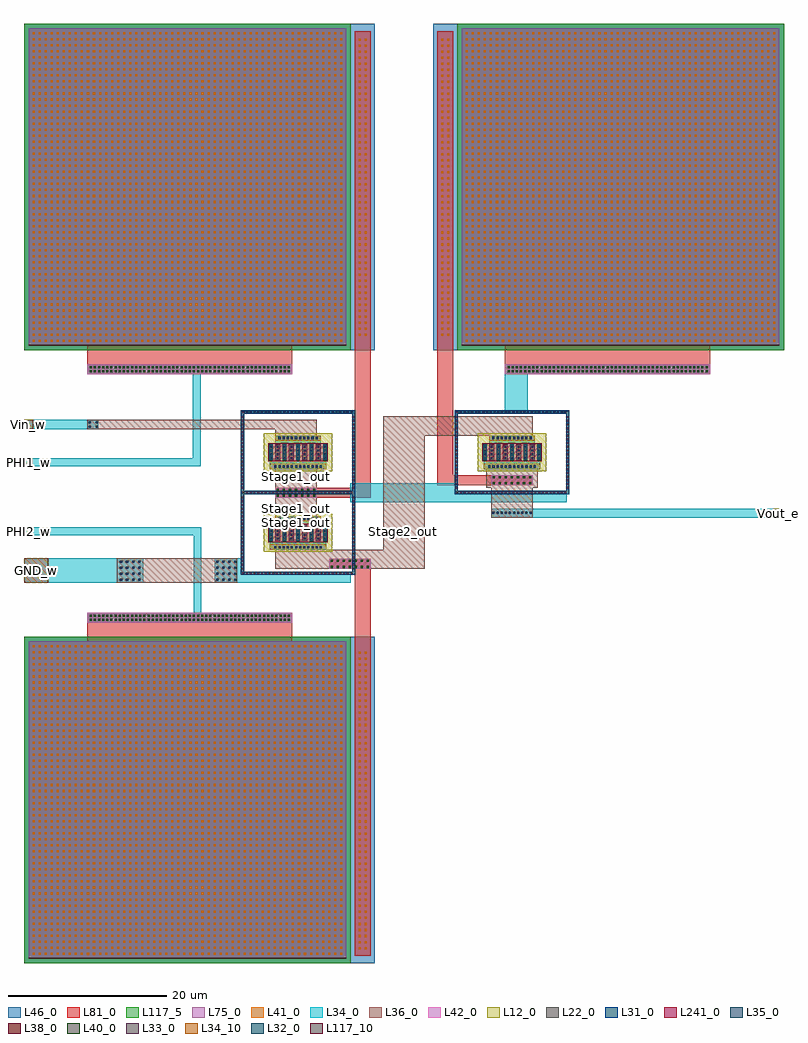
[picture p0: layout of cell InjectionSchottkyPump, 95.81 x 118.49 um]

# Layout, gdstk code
import gdstk
lib = gdstk.Library(unit=1e-6, precision=1e-09)
def R(c, l, rs):  # rectangles x0, y0, x1, y1
    for r in rs: c.add(gdstk.rectangle(r[:2], r[2:], *l))
def A(c, l, x, y, w, h, nx, ny, dx, dy):  # array of equal rectangles
    R(c, l, [(x+i*dx, y+j*dy, x+i*dx+w, y+j*dy+h) for i in range(nx) for j in range(ny)])
def P(c, l, *ps):  # polygons
    for p in ps: c.add(gdstk.Polygon(p, *l))
L12_0 = (12, 0)
L22_0 = (22, 0)
L31_0 = (31, 0)
L32_0 = (32, 0)
L33_0 = (33, 0)
L34_0 = (34, 0)
L34_10 = (34, 10)
L35_0 = (35, 0)
L36_0 = (36, 0)
L38_0 = (38, 0)
L40_0 = (40, 0)
L41_0 = (41, 0)
L42_0 = (42, 0)
L46_0 = (46, 0)
L75_0 = (75, 0)
L81_0 = (81, 0)
L117_5 = (117, 5)
L117_10 = (117, 10)
L241_0 = (241, 0)

schottkydiode = lib.new_cell('SchottkyDiode')
R(schottkydiode, L12_0, [(2.89,5.06,11.57,9.86)])
A(schottkydiode, L22_0, 3.65, 6.46, 0.36, 2, 5, 1, 1.7, 0)
A(schottkydiode, L22_0, 4.37, 6.46, 0.62, 2, 4, 1, 1.7, 0)
P(schottkydiode, L22_0, [(0.03,2.2),(0.03,12.36),(0.39,12.36),(0.39,2.56),(14.07,2.56),(14.07,12.36),(0.03,12.36),(0.03,12.72),(14.43,12.72),(14.43,2.2)])
P(schottkydiode, L31_0, [(0,2.17),(0,12.33),(0.42,12.33),(0.42,2.59),(14.04,2.59),(14.04,12.33),(0,12.33),(0,12.75),(14.46,12.75),(14.46,2.17)])
A(schottkydiode, L32_0, 3.62, 6.43, 0.42, 2.06, 5, 1, 1.7, 0)
A(schottkydiode, L33_0, 0.22, 2.27, 0.22, 0.22, 30, 2, 0.47, 10.16)
A(schottkydiode, L33_0, 0.1, 2.87, 0.22, 0.22, 1, 20, 0, 0.47)
A(schottkydiode, L33_0, 14.14, 2.87, 0.22, 0.22, 1, 20, 0, 0.47)
A(schottkydiode, L33_0, 3.72, 6.645, 0.22, 0.22, 9, 4, 0.85, 0.47)
A(schottkydiode, L34_0, 3.65, 6.23, 0.36, 2.23, 5, 1, 1.7, 0)
A(schottkydiode, L34_0, 4.37, 6.46, 0.62, 2.23, 4, 1, 1.7, 0)
R(schottkydiode, L34_0, [(3.65,5.35,10.81,6), (3.65,6,10.81,6.23), (4.37,8.69,10.09,8.92), (4.37,8.92,10.09,9.57)])
P(schottkydiode, L34_0, [(0.03,2.2),(0.03,12.72),(0.39,12.72),(0.39,2.56),(14.07,2.56),(14.07,12.36),(0.39,12.36),(0.39,12.72),(14.43,12.72),(14.43,2.2)])
A(schottkydiode, L35_0, 4.25, 5.54, 0.26, 0.26, 12, 1, 0.52, 0)
A(schottkydiode, L35_0, 4.76, 9.13, 0.26, 0.26, 10, 1, 0.52, 0)
R(schottkydiode, L36_0, [(3.65,5.35,10.81,6), (4.37,8.92,10.09,9.57)])
R(schottkydiode, L241_0, [(3.49,6.3,10.97,8.62)])

schottkydiode_1 = lib.new_cell('SchottkyDiode$1')
R(schottkydiode_1, L12_0, [(2.89,5.06,11.57,9.86)])
A(schottkydiode_1, L22_0, 3.65, 6.46, 0.36, 2, 5, 1, 1.7, 0)
A(schottkydiode_1, L22_0, 4.37, 6.46, 0.62, 2, 4, 1, 1.7, 0)
P(schottkydiode_1, L22_0, [(0.03,2.2),(0.03,12.36),(0.39,12.36),(0.39,2.56),(14.07,2.56),(14.07,12.36),(0.03,12.36),(0.03,12.72),(14.43,12.72),(14.43,2.2)])
P(schottkydiode_1, L31_0, [(0,2.17),(0,12.33),(0.42,12.33),(0.42,2.59),(14.04,2.59),(14.04,12.33),(0,12.33),(0,12.75),(14.46,12.75),(14.46,2.17)])
A(schottkydiode_1, L32_0, 3.62, 6.43, 0.42, 2.06, 5, 1, 1.7, 0)
A(schottkydiode_1, L33_0, 0.22, 2.27, 0.22, 0.22, 30, 2, 0.47, 10.16)
A(schottkydiode_1, L33_0, 0.1, 2.87, 0.22, 0.22, 1, 20, 0, 0.47)
A(schottkydiode_1, L33_0, 14.14, 2.87, 0.22, 0.22, 1, 20, 0, 0.47)
A(schottkydiode_1, L33_0, 3.72, 6.645, 0.22, 0.22, 9, 4, 0.85, 0.47)
A(schottkydiode_1, L34_0, 3.65, 6.23, 0.36, 2.23, 5, 1, 1.7, 0)
A(schottkydiode_1, L34_0, 4.37, 6.46, 0.62, 2.23, 4, 1, 1.7, 0)
R(schottkydiode_1, L34_0, [(3.65,5.35,10.81,6), (3.65,6,10.81,6.23), (4.37,8.69,10.09,8.92), (4.37,8.92,10.09,9.57)])
P(schottkydiode_1, L34_0, [(0.03,2.2),(0.03,12.72),(0.39,12.72),(0.39,2.56),(14.07,2.56),(14.07,12.36),(0.39,12.36),(0.39,12.72),(14.43,12.72),(14.43,2.2)])
A(schottkydiode_1, L35_0, 4.25, 5.54, 0.26, 0.26, 12, 1, 0.52, 0)
A(schottkydiode_1, L35_0, 4.76, 9.13, 0.26, 0.26, 10, 1, 0.52, 0)
R(schottkydiode_1, L36_0, [(3.65,5.35,10.81,6), (4.37,8.92,10.09,9.57)])
R(schottkydiode_1, L241_0, [(3.49,6.3,10.97,8.62)])

schottkydiode_1_1 = lib.new_cell('SchottkyDiode$1$1')
R(schottkydiode_1_1, L12_0, [(2.89,5.06,11.57,9.86)])
A(schottkydiode_1_1, L22_0, 3.65, 6.46, 0.36, 2, 5, 1, 1.7, 0)
A(schottkydiode_1_1, L22_0, 4.37, 6.46, 0.62, 2, 4, 1, 1.7, 0)
P(schottkydiode_1_1, L22_0, [(0.03,2.2),(0.03,12.36),(0.39,12.36),(0.39,2.56),(14.07,2.56),(14.07,12.36),(0.03,12.36),(0.03,12.72),(14.43,12.72),(14.43,2.2)])
P(schottkydiode_1_1, L31_0, [(0,2.17),(0,12.33),(0.42,12.33),(0.42,2.59),(14.04,2.59),(14.04,12.33),(0,12.33),(0,12.75),(14.46,12.75),(14.46,2.17)])
A(schottkydiode_1_1, L32_0, 3.62, 6.43, 0.42, 2.06, 5, 1, 1.7, 0)
A(schottkydiode_1_1, L33_0, 0.22, 2.27, 0.22, 0.22, 30, 2, 0.47, 10.16)
A(schottkydiode_1_1, L33_0, 0.1, 2.87, 0.22, 0.22, 1, 20, 0, 0.47)
A(schottkydiode_1_1, L33_0, 14.14, 2.87, 0.22, 0.22, 1, 20, 0, 0.47)
A(schottkydiode_1_1, L33_0, 3.72, 6.645, 0.22, 0.22, 9, 4, 0.85, 0.47)
A(schottkydiode_1_1, L34_0, 3.65, 6.23, 0.36, 2.23, 5, 1, 1.7, 0)
A(schottkydiode_1_1, L34_0, 4.37, 6.46, 0.62, 2.23, 4, 1, 1.7, 0)
R(schottkydiode_1_1, L34_0, [(3.65,5.35,10.81,6), (3.65,6,10.81,6.23), (4.37,8.69,10.09,8.92), (4.37,8.92,10.09,9.57)])
P(schottkydiode_1_1, L34_0, [(0.03,2.2),(0.03,12.72),(0.39,12.72),(0.39,2.56),(14.07,2.56),(14.07,12.36),(0.39,12.36),(0.39,12.72),(14.43,12.72),(14.43,2.2)])
A(schottkydiode_1_1, L35_0, 4.25, 5.54, 0.26, 0.26, 12, 1, 0.52, 0)
A(schottkydiode_1_1, L35_0, 4.76, 9.13, 0.26, 0.26, 10, 1, 0.52, 0)
R(schottkydiode_1_1, L36_0, [(3.65,5.35,10.81,6), (4.37,8.92,10.09,9.57)])
R(schottkydiode_1_1, L241_0, [(3.49,6.3,10.97,8.62)])

cap_mim = lib.new_cell('cap_mim')
A(cap_mim, L41_0, 0.49, 0.49, 0.26, 0.26, 52, 52, 0.76, 0.76)
R(cap_mim, L46_0, [(-0.6,-0.6,40.6,40.6)])
R(cap_mim, L75_0, [(0,0,40,40)])
R(cap_mim, L81_0, [(0,0,40,40)])
R(cap_mim, L117_5, [(-0.6,-0.6,40.6,40.6)])
R(cap_mim, L117_10, [(0,0,40,0.1)])

injectionschottkypump = lib.new_cell('InjectionSchottkyPump')
A(injectionschottkypump, L34_0, 7.945, 42.965, 2.47, 1.245, 16, 2, 1.56, 31.315)
A(injectionschottkypump, L34_0, 60.605, 74.28, 2.47, 1.245, 16, 1, 1.56, 0)
R(injectionschottkypump, L34_0, [(21.365,44.18,22.365,55), (0,48.02,15,51.07), (24.01,48.02,27.375,51.07), (27.34,48.02,41.195,49.02), (27.375,48.02,41.195,48.99), (19.435,54,22.365,55), (86.405,56.16,95.795,57.32), (41.095,58.15,54.695,60.545), (54.695,58.15,68.415,59.15), (54.695,59.06,68.415,59.18), (19.335,62.7,22.265,63.7), (21.26,63.01,22.265,75.29), (-0.005,67.37,9.385,68.53), (60.605,69.7,63.5,69.73), (60.605,69.73,63.495,74.28)])
R(injectionschottkypump, L34_10, [(0,48.02,3.04,51.07), (0,54,1.015,55), (94.505,56.16,95.795,57.32), (94.505,56.16,95.795,57.32), (0,62.7,1.015,63.7), (-0.005,67.37,1.175,68.53), (-0.005,67.37,1.175,68.53)])
A(injectionschottkypump, L35_0, 8.29, 43.185, 0.26, 0.26, 4, 2, 0.52, 0.52)
A(injectionschottkypump, L35_0, 9.85, 43.185, 0.26, 0.26, 4, 2, 0.52, 0.52)
A(injectionschottkypump, L35_0, 11.41, 43.185, 0.26, 0.26, 4, 2, 0.52, 0.52)
A(injectionschottkypump, L35_0, 12.97, 43.185, 0.26, 0.26, 4, 2, 0.52, 0.52)
A(injectionschottkypump, L35_0, 14.53, 43.185, 0.26, 0.26, 4, 2, 0.52, 0.52)
A(injectionschottkypump, L35_0, 16.09, 43.185, 0.26, 0.26, 4, 2, 0.52, 0.52)
A(injectionschottkypump, L35_0, 17.65, 43.185, 0.26, 0.26, 4, 2, 0.52, 0.52)
A(injectionschottkypump, L35_0, 19.21, 43.185, 0.26, 0.26, 4, 2, 0.52, 0.52)
A(injectionschottkypump, L35_0, 20.77, 43.185, 0.26, 0.26, 4, 2, 0.52, 0.52)
A(injectionschottkypump, L35_0, 22.33, 43.185, 0.26, 0.26, 4, 2, 0.52, 0.52)
A(injectionschottkypump, L35_0, 23.89, 43.185, 0.26, 0.26, 4, 2, 0.52, 0.52)
A(injectionschottkypump, L35_0, 25.45, 43.185, 0.26, 0.26, 4, 2, 0.52, 0.52)
A(injectionschottkypump, L35_0, 27.01, 43.185, 0.26, 0.26, 4, 2, 0.52, 0.52)
A(injectionschottkypump, L35_0, 28.57, 43.185, 0.26, 0.26, 4, 2, 0.52, 0.52)
A(injectionschottkypump, L35_0, 30.13, 43.185, 0.26, 0.26, 4, 2, 0.52, 0.52)
A(injectionschottkypump, L35_0, 31.69, 43.185, 0.26, 0.26, 4, 2, 0.52, 0.52)
A(injectionschottkypump, L35_0, 12.09, 48.22, 0.26, 0.26, 4, 4, 0.76, 0.76)
A(injectionschottkypump, L35_0, 24.2, 48.23, 0.26, 0.26, 4, 4, 0.76, 0.76)
A(injectionschottkypump, L35_0, 59.045, 56.705, 0.26, 0.26, 10, 1, 0.52, 0)
A(injectionschottkypump, L35_0, 8.29, 74.525, 0.26, 0.26, 4, 2, 0.52, 0.52)
A(injectionschottkypump, L35_0, 9.85, 74.525, 0.26, 0.26, 4, 2, 0.52, 0.52)
A(injectionschottkypump, L35_0, 11.41, 74.525, 0.26, 0.26, 4, 2, 0.52, 0.52)
A(injectionschottkypump, L35_0, 12.97, 74.525, 0.26, 0.26, 4, 2, 0.52, 0.52)
A(injectionschottkypump, L35_0, 14.53, 74.525, 0.26, 0.26, 4, 2, 0.52, 0.52)
A(injectionschottkypump, L35_0, 16.09, 74.525, 0.26, 0.26, 4, 2, 0.52, 0.52)
A(injectionschottkypump, L35_0, 17.65, 74.525, 0.26, 0.26, 4, 2, 0.52, 0.52)
A(injectionschottkypump, L35_0, 19.21, 74.525, 0.26, 0.26, 4, 2, 0.52, 0.52)
A(injectionschottkypump, L35_0, 20.77, 74.525, 0.26, 0.26, 4, 2, 0.52, 0.52)
A(injectionschottkypump, L35_0, 22.33, 74.525, 0.26, 0.26, 4, 2, 0.52, 0.52)
A(injectionschottkypump, L35_0, 23.89, 74.525, 0.26, 0.26, 4, 2, 0.52, 0.52)
A(injectionschottkypump, L35_0, 25.45, 74.525, 0.26, 0.26, 4, 2, 0.52, 0.52)
A(injectionschottkypump, L35_0, 27.01, 74.525, 0.26, 0.26, 4, 2, 0.52, 0.52)
A(injectionschottkypump, L35_0, 28.57, 74.525, 0.26, 0.26, 4, 2, 0.52, 0.52)
A(injectionschottkypump, L35_0, 30.13, 74.525, 0.26, 0.26, 4, 2, 0.52, 0.52)
A(injectionschottkypump, L35_0, 31.69, 74.525, 0.26, 0.26, 4, 2, 0.52, 0.52)
A(injectionschottkypump, L35_0, 60.95, 74.525, 0.26, 0.26, 4, 2, 0.52, 0.52)
A(injectionschottkypump, L35_0, 62.51, 74.525, 0.26, 0.26, 4, 2, 0.52, 0.52)
A(injectionschottkypump, L35_0, 64.07, 74.525, 0.26, 0.26, 4, 2, 0.52, 0.52)
A(injectionschottkypump, L35_0, 65.63, 74.525, 0.26, 0.26, 4, 2, 0.52, 0.52)
A(injectionschottkypump, L35_0, 67.19, 74.525, 0.26, 0.26, 4, 2, 0.52, 0.52)
A(injectionschottkypump, L35_0, 68.75, 74.525, 0.26, 0.26, 4, 2, 0.52, 0.52)
A(injectionschottkypump, L35_0, 70.31, 74.525, 0.26, 0.26, 4, 2, 0.52, 0.52)
A(injectionschottkypump, L35_0, 71.87, 74.525, 0.26, 0.26, 4, 2, 0.52, 0.52)
A(injectionschottkypump, L35_0, 73.43, 74.525, 0.26, 0.26, 4, 2, 0.52, 0.52)
A(injectionschottkypump, L35_0, 74.99, 74.525, 0.26, 0.26, 4, 2, 0.52, 0.52)
A(injectionschottkypump, L35_0, 76.55, 74.525, 0.26, 0.26, 4, 2, 0.52, 0.52)
A(injectionschottkypump, L35_0, 78.11, 74.525, 0.26, 0.26, 4, 2, 0.52, 0.52)
A(injectionschottkypump, L35_0, 79.67, 74.525, 0.26, 0.26, 4, 2, 0.52, 0.52)
A(injectionschottkypump, L35_0, 81.23, 74.525, 0.26, 0.26, 4, 2, 0.52, 0.52)
A(injectionschottkypump, L35_0, 82.79, 74.525, 0.26, 0.26, 4, 2, 0.52, 0.52)
A(injectionschottkypump, L35_0, 84.35, 74.525, 0.26, 0.26, 4, 2, 0.52, 0.52)
R(injectionschottkypump, L35_0, [(8.29,43.705,8.55,43.965), (9.85,43.705,10.11,43.965), (11.41,43.705,11.67,43.965), (12.97,43.705,13.23,43.965), (14.53,43.705,14.79,43.965), (16.09,43.705,16.35,43.965), (17.65,43.705,17.91,43.965), (19.21,43.705,19.47,43.965), (20.77,43.705,21.03,43.965), (22.33,43.705,22.59,43.965), (23.89,43.705,24.15,43.965), (25.45,43.705,25.71,43.965), (27.01,43.705,27.27,43.965), (28.57,43.705,28.83,43.965), (30.13,43.705,30.39,43.965), (31.69,43.705,31.95,43.965), (8.175,67.53,8.435,67.79), (9.015,67.53,9.275,67.79), (8.175,68.07,8.435,68.33), (9.015,68.07,9.275,68.33), (8.29,74.525,8.55,74.785), (9.85,74.525,10.11,74.785), (11.41,74.525,11.67,74.785), (12.97,74.525,13.23,74.785), (14.53,74.525,14.79,74.785), (16.09,74.525,16.35,74.785), (17.65,74.525,17.91,74.785), (19.21,74.525,19.47,74.785), (20.77,74.525,21.03,74.785), (22.33,74.525,22.59,74.785), (23.89,74.525,24.15,74.785), (25.45,74.525,25.71,74.785), (27.01,74.525,27.27,74.785), (28.57,74.525,28.83,74.785), (30.13,74.525,30.39,74.785), (31.69,74.525,31.95,74.785), (60.95,74.525,61.21,74.785), (62.51,74.525,62.77,74.785), (64.07,74.525,64.33,74.785), (65.63,74.525,65.89,74.785), (67.19,74.525,67.45,74.785), (68.75,74.525,69.01,74.785), (70.31,74.525,70.57,74.785), (71.87,74.525,72.13,74.785), (73.43,74.525,73.69,74.785), (74.99,74.525,75.25,74.785), (76.55,74.525,76.81,74.785), (78.11,74.525,78.37,74.785), (79.67,74.525,79.93,74.785), (81.23,74.525,81.49,74.785), (82.79,74.525,83.05,74.785), (84.35,74.525,84.61,74.785)])
A(injectionschottkypump, L36_0, 7.945, 42.965, 2.47, 1.245, 16, 2, 1.56, 31.315)
A(injectionschottkypump, L36_0, 60.605, 74.28, 2.47, 1.245, 16, 1, 1.56, 0)
R(injectionschottkypump, L36_0, [(11.68,48.02,26.9,51.07), (31.665,49.73,36.905,52.17), (36.905,49.73,45.275,52.17), (45.275,49.73,50.515,68.99), (58.885,56.16,64.125,60.28), (31.665,56.39,36.905,62.33), (58.245,59.995,64.765,62.33), (31.665,66.55,36.905,68.53), (50.515,66.55,58.885,68.99), (58.885,66.55,64.125,68.99), (7.995,67.37,31.665,68.53)])
A(injectionschottkypump, L38_0, 8.29, 43.185, 0.26, 0.26, 4, 2, 0.52, 0.52)
A(injectionschottkypump, L38_0, 9.85, 43.185, 0.26, 0.26, 4, 2, 0.52, 0.52)
A(injectionschottkypump, L38_0, 11.41, 43.185, 0.26, 0.26, 4, 2, 0.52, 0.52)
A(injectionschottkypump, L38_0, 12.97, 43.185, 0.26, 0.26, 4, 2, 0.52, 0.52)
A(injectionschottkypump, L38_0, 14.53, 43.185, 0.26, 0.26, 4, 2, 0.52, 0.52)
A(injectionschottkypump, L38_0, 16.09, 43.185, 0.26, 0.26, 4, 2, 0.52, 0.52)
A(injectionschottkypump, L38_0, 17.65, 43.185, 0.26, 0.26, 4, 2, 0.52, 0.52)
A(injectionschottkypump, L38_0, 19.21, 43.185, 0.26, 0.26, 4, 2, 0.52, 0.52)
A(injectionschottkypump, L38_0, 20.77, 43.185, 0.26, 0.26, 4, 2, 0.52, 0.52)
A(injectionschottkypump, L38_0, 22.33, 43.185, 0.26, 0.26, 4, 2, 0.52, 0.52)
A(injectionschottkypump, L38_0, 23.89, 43.185, 0.26, 0.26, 4, 2, 0.52, 0.52)
A(injectionschottkypump, L38_0, 25.45, 43.185, 0.26, 0.26, 4, 2, 0.52, 0.52)
A(injectionschottkypump, L38_0, 27.01, 43.185, 0.26, 0.26, 4, 2, 0.52, 0.52)
A(injectionschottkypump, L38_0, 28.57, 43.185, 0.26, 0.26, 4, 2, 0.52, 0.52)
A(injectionschottkypump, L38_0, 30.13, 43.185, 0.26, 0.26, 4, 2, 0.52, 0.52)
A(injectionschottkypump, L38_0, 31.69, 43.185, 0.26, 0.26, 4, 2, 0.52, 0.52)
A(injectionschottkypump, L38_0, 38.665, 49.85, 0.26, 0.26, 7, 2, 0.76, 0.76)
A(injectionschottkypump, L38_0, 31.875, 58.85, 0.26, 0.26, 7, 2, 0.76, 0.76)
A(injectionschottkypump, L38_0, 59.095, 60.4, 0.26, 0.26, 7, 2, 0.76, 0.76)
A(injectionschottkypump, L38_0, 8.29, 74.525, 0.26, 0.26, 4, 2, 0.52, 0.52)
A(injectionschottkypump, L38_0, 9.85, 74.525, 0.26, 0.26, 4, 2, 0.52, 0.52)
A(injectionschottkypump, L38_0, 11.41, 74.525, 0.26, 0.26, 4, 2, 0.52, 0.52)
A(injectionschottkypump, L38_0, 12.97, 74.525, 0.26, 0.26, 4, 2, 0.52, 0.52)
A(injectionschottkypump, L38_0, 14.53, 74.525, 0.26, 0.26, 4, 2, 0.52, 0.52)
A(injectionschottkypump, L38_0, 16.09, 74.525, 0.26, 0.26, 4, 2, 0.52, 0.52)
A(injectionschottkypump, L38_0, 17.65, 74.525, 0.26, 0.26, 4, 2, 0.52, 0.52)
A(injectionschottkypump, L38_0, 19.21, 74.525, 0.26, 0.26, 4, 2, 0.52, 0.52)
A(injectionschottkypump, L38_0, 20.77, 74.525, 0.26, 0.26, 4, 2, 0.52, 0.52)
A(injectionschottkypump, L38_0, 22.33, 74.525, 0.26, 0.26, 4, 2, 0.52, 0.52)
A(injectionschottkypump, L38_0, 23.89, 74.525, 0.26, 0.26, 4, 2, 0.52, 0.52)
A(injectionschottkypump, L38_0, 25.45, 74.525, 0.26, 0.26, 4, 2, 0.52, 0.52)
A(injectionschottkypump, L38_0, 27.01, 74.525, 0.26, 0.26, 4, 2, 0.52, 0.52)
A(injectionschottkypump, L38_0, 28.57, 74.525, 0.26, 0.26, 4, 2, 0.52, 0.52)
A(injectionschottkypump, L38_0, 30.13, 74.525, 0.26, 0.26, 4, 2, 0.52, 0.52)
A(injectionschottkypump, L38_0, 31.69, 74.525, 0.26, 0.26, 4, 2, 0.52, 0.52)
A(injectionschottkypump, L38_0, 60.95, 74.525, 0.26, 0.26, 4, 2, 0.52, 0.52)
A(injectionschottkypump, L38_0, 62.51, 74.525, 0.26, 0.26, 4, 2, 0.52, 0.52)
A(injectionschottkypump, L38_0, 64.07, 74.525, 0.26, 0.26, 4, 2, 0.52, 0.52)
A(injectionschottkypump, L38_0, 65.63, 74.525, 0.26, 0.26, 4, 2, 0.52, 0.52)
A(injectionschottkypump, L38_0, 67.19, 74.525, 0.26, 0.26, 4, 2, 0.52, 0.52)
A(injectionschottkypump, L38_0, 68.75, 74.525, 0.26, 0.26, 4, 2, 0.52, 0.52)
A(injectionschottkypump, L38_0, 70.31, 74.525, 0.26, 0.26, 4, 2, 0.52, 0.52)
A(injectionschottkypump, L38_0, 71.87, 74.525, 0.26, 0.26, 4, 2, 0.52, 0.52)
A(injectionschottkypump, L38_0, 73.43, 74.525, 0.26, 0.26, 4, 2, 0.52, 0.52)
A(injectionschottkypump, L38_0, 74.99, 74.525, 0.26, 0.26, 4, 2, 0.52, 0.52)
A(injectionschottkypump, L38_0, 76.55, 74.525, 0.26, 0.26, 4, 2, 0.52, 0.52)
A(injectionschottkypump, L38_0, 78.11, 74.525, 0.26, 0.26, 4, 2, 0.52, 0.52)
A(injectionschottkypump, L38_0, 79.67, 74.525, 0.26, 0.26, 4, 2, 0.52, 0.52)
A(injectionschottkypump, L38_0, 81.23, 74.525, 0.26, 0.26, 4, 2, 0.52, 0.52)
A(injectionschottkypump, L38_0, 82.79, 74.525, 0.26, 0.26, 4, 2, 0.52, 0.52)
A(injectionschottkypump, L38_0, 84.35, 74.525, 0.26, 0.26, 4, 2, 0.52, 0.52)
A(injectionschottkypump, L40_0, 8.29, 43.185, 0.26, 0.26, 4, 2, 0.52, 0.52)
A(injectionschottkypump, L40_0, 9.85, 43.185, 0.26, 0.26, 4, 2, 0.52, 0.52)
A(injectionschottkypump, L40_0, 11.41, 43.185, 0.26, 0.26, 4, 2, 0.52, 0.52)
A(injectionschottkypump, L40_0, 12.97, 43.185, 0.26, 0.26, 4, 2, 0.52, 0.52)
A(injectionschottkypump, L40_0, 14.53, 43.185, 0.26, 0.26, 4, 2, 0.52, 0.52)
A(injectionschottkypump, L40_0, 16.09, 43.185, 0.26, 0.26, 4, 2, 0.52, 0.52)
A(injectionschottkypump, L40_0, 17.65, 43.185, 0.26, 0.26, 4, 2, 0.52, 0.52)
A(injectionschottkypump, L40_0, 19.21, 43.185, 0.26, 0.26, 4, 2, 0.52, 0.52)
A(injectionschottkypump, L40_0, 20.77, 43.185, 0.26, 0.26, 4, 2, 0.52, 0.52)
A(injectionschottkypump, L40_0, 22.33, 43.185, 0.26, 0.26, 4, 2, 0.52, 0.52)
A(injectionschottkypump, L40_0, 23.89, 43.185, 0.26, 0.26, 4, 2, 0.52, 0.52)
A(injectionschottkypump, L40_0, 25.45, 43.185, 0.26, 0.26, 4, 2, 0.52, 0.52)
A(injectionschottkypump, L40_0, 27.01, 43.185, 0.26, 0.26, 4, 2, 0.52, 0.52)
A(injectionschottkypump, L40_0, 28.57, 43.185, 0.26, 0.26, 4, 2, 0.52, 0.52)
A(injectionschottkypump, L40_0, 30.13, 43.185, 0.26, 0.26, 4, 2, 0.52, 0.52)
A(injectionschottkypump, L40_0, 31.69, 43.185, 0.26, 0.26, 4, 2, 0.52, 0.52)
A(injectionschottkypump, L40_0, 38.665, 49.85, 0.26, 0.26, 7, 2, 0.76, 0.76)
A(injectionschottkypump, L40_0, 31.875, 58.85, 0.26, 0.26, 7, 2, 0.76, 0.76)
A(injectionschottkypump, L40_0, 59.095, 60.4, 0.26, 0.26, 7, 2, 0.76, 0.76)
A(injectionschottkypump, L40_0, 8.29, 74.525, 0.26, 0.26, 4, 2, 0.52, 0.52)
A(injectionschottkypump, L40_0, 9.85, 74.525, 0.26, 0.26, 4, 2, 0.52, 0.52)
A(injectionschottkypump, L40_0, 11.41, 74.525, 0.26, 0.26, 4, 2, 0.52, 0.52)
A(injectionschottkypump, L40_0, 12.97, 74.525, 0.26, 0.26, 4, 2, 0.52, 0.52)
A(injectionschottkypump, L40_0, 14.53, 74.525, 0.26, 0.26, 4, 2, 0.52, 0.52)
A(injectionschottkypump, L40_0, 16.09, 74.525, 0.26, 0.26, 4, 2, 0.52, 0.52)
A(injectionschottkypump, L40_0, 17.65, 74.525, 0.26, 0.26, 4, 2, 0.52, 0.52)
A(injectionschottkypump, L40_0, 19.21, 74.525, 0.26, 0.26, 4, 2, 0.52, 0.52)
A(injectionschottkypump, L40_0, 20.77, 74.525, 0.26, 0.26, 4, 2, 0.52, 0.52)
A(injectionschottkypump, L40_0, 22.33, 74.525, 0.26, 0.26, 4, 2, 0.52, 0.52)
A(injectionschottkypump, L40_0, 23.89, 74.525, 0.26, 0.26, 4, 2, 0.52, 0.52)
A(injectionschottkypump, L40_0, 25.45, 74.525, 0.26, 0.26, 4, 2, 0.52, 0.52)
A(injectionschottkypump, L40_0, 27.01, 74.525, 0.26, 0.26, 4, 2, 0.52, 0.52)
A(injectionschottkypump, L40_0, 28.57, 74.525, 0.26, 0.26, 4, 2, 0.52, 0.52)
A(injectionschottkypump, L40_0, 30.13, 74.525, 0.26, 0.26, 4, 2, 0.52, 0.52)
A(injectionschottkypump, L40_0, 31.69, 74.525, 0.26, 0.26, 4, 2, 0.52, 0.52)
A(injectionschottkypump, L40_0, 60.95, 74.525, 0.26, 0.26, 4, 2, 0.52, 0.52)
A(injectionschottkypump, L40_0, 62.51, 74.525, 0.26, 0.26, 4, 2, 0.52, 0.52)
A(injectionschottkypump, L40_0, 64.07, 74.525, 0.26, 0.26, 4, 2, 0.52, 0.52)
A(injectionschottkypump, L40_0, 65.63, 74.525, 0.26, 0.26, 4, 2, 0.52, 0.52)
A(injectionschottkypump, L40_0, 67.19, 74.525, 0.26, 0.26, 4, 2, 0.52, 0.52)
A(injectionschottkypump, L40_0, 68.75, 74.525, 0.26, 0.26, 4, 2, 0.52, 0.52)
A(injectionschottkypump, L40_0, 70.31, 74.525, 0.26, 0.26, 4, 2, 0.52, 0.52)
A(injectionschottkypump, L40_0, 71.87, 74.525, 0.26, 0.26, 4, 2, 0.52, 0.52)
A(injectionschottkypump, L40_0, 73.43, 74.525, 0.26, 0.26, 4, 2, 0.52, 0.52)
A(injectionschottkypump, L40_0, 74.99, 74.525, 0.26, 0.26, 4, 2, 0.52, 0.52)
A(injectionschottkypump, L40_0, 76.55, 74.525, 0.26, 0.26, 4, 2, 0.52, 0.52)
A(injectionschottkypump, L40_0, 78.11, 74.525, 0.26, 0.26, 4, 2, 0.52, 0.52)
A(injectionschottkypump, L40_0, 79.67, 74.525, 0.26, 0.26, 4, 2, 0.52, 0.52)
A(injectionschottkypump, L40_0, 81.23, 74.525, 0.26, 0.26, 4, 2, 0.52, 0.52)
A(injectionschottkypump, L40_0, 82.79, 74.525, 0.26, 0.26, 4, 2, 0.52, 0.52)
A(injectionschottkypump, L40_0, 84.35, 74.525, 0.26, 0.26, 4, 2, 0.52, 0.52)
A(injectionschottkypump, L41_0, 42.19, 1.81, 0.26, 0.26, 1, 50, 0, 0.76)
A(injectionschottkypump, L41_0, 42.95, 1.81, 0.26, 0.26, 1, 50, 0, 0.76)
A(injectionschottkypump, L41_0, 8.29, 43.185, 0.26, 0.26, 4, 2, 0.52, 0.52)
A(injectionschottkypump, L41_0, 9.85, 43.185, 0.26, 0.26, 4, 2, 0.52, 0.52)
A(injectionschottkypump, L41_0, 11.41, 43.185, 0.26, 0.26, 4, 2, 0.52, 0.52)
A(injectionschottkypump, L41_0, 12.97, 43.185, 0.26, 0.26, 4, 2, 0.52, 0.52)
A(injectionschottkypump, L41_0, 14.53, 43.185, 0.26, 0.26, 4, 2, 0.52, 0.52)
A(injectionschottkypump, L41_0, 16.09, 43.185, 0.26, 0.26, 4, 2, 0.52, 0.52)
A(injectionschottkypump, L41_0, 17.65, 43.185, 0.26, 0.26, 4, 2, 0.52, 0.52)
A(injectionschottkypump, L41_0, 19.21, 43.185, 0.26, 0.26, 4, 2, 0.52, 0.52)
A(injectionschottkypump, L41_0, 20.77, 43.185, 0.26, 0.26, 4, 2, 0.52, 0.52)
A(injectionschottkypump, L41_0, 22.33, 43.185, 0.26, 0.26, 4, 2, 0.52, 0.52)
A(injectionschottkypump, L41_0, 23.89, 43.185, 0.26, 0.26, 4, 2, 0.52, 0.52)
A(injectionschottkypump, L41_0, 25.45, 43.185, 0.26, 0.26, 4, 2, 0.52, 0.52)
A(injectionschottkypump, L41_0, 27.01, 43.185, 0.26, 0.26, 4, 2, 0.52, 0.52)
A(injectionschottkypump, L41_0, 28.57, 43.185, 0.26, 0.26, 4, 2, 0.52, 0.52)
A(injectionschottkypump, L41_0, 30.13, 43.185, 0.26, 0.26, 4, 2, 0.52, 0.52)
A(injectionschottkypump, L41_0, 31.69, 43.185, 0.26, 0.26, 4, 2, 0.52, 0.52)
A(injectionschottkypump, L41_0, 38.665, 49.85, 0.26, 0.26, 7, 2, 0.76, 0.76)
A(injectionschottkypump, L41_0, 31.875, 58.85, 0.26, 0.26, 7, 2, 0.76, 0.76)
A(injectionschottkypump, L41_0, 59.095, 60.4, 0.26, 0.26, 7, 2, 0.76, 0.76)
A(injectionschottkypump, L41_0, 8.29, 74.525, 0.26, 0.26, 4, 2, 0.52, 0.52)
A(injectionschottkypump, L41_0, 9.85, 74.525, 0.26, 0.26, 4, 2, 0.52, 0.52)
A(injectionschottkypump, L41_0, 11.41, 74.525, 0.26, 0.26, 4, 2, 0.52, 0.52)
A(injectionschottkypump, L41_0, 12.97, 74.525, 0.26, 0.26, 4, 2, 0.52, 0.52)
A(injectionschottkypump, L41_0, 14.53, 74.525, 0.26, 0.26, 4, 2, 0.52, 0.52)
A(injectionschottkypump, L41_0, 16.09, 74.525, 0.26, 0.26, 4, 2, 0.52, 0.52)
A(injectionschottkypump, L41_0, 17.65, 74.525, 0.26, 0.26, 4, 2, 0.52, 0.52)
A(injectionschottkypump, L41_0, 19.21, 74.525, 0.26, 0.26, 4, 2, 0.52, 0.52)
A(injectionschottkypump, L41_0, 20.77, 74.525, 0.26, 0.26, 4, 2, 0.52, 0.52)
A(injectionschottkypump, L41_0, 22.33, 74.525, 0.26, 0.26, 4, 2, 0.52, 0.52)
A(injectionschottkypump, L41_0, 23.89, 74.525, 0.26, 0.26, 4, 2, 0.52, 0.52)
A(injectionschottkypump, L41_0, 25.45, 74.525, 0.26, 0.26, 4, 2, 0.52, 0.52)
A(injectionschottkypump, L41_0, 27.01, 74.525, 0.26, 0.26, 4, 2, 0.52, 0.52)
A(injectionschottkypump, L41_0, 28.57, 74.525, 0.26, 0.26, 4, 2, 0.52, 0.52)
A(injectionschottkypump, L41_0, 30.13, 74.525, 0.26, 0.26, 4, 2, 0.52, 0.52)
A(injectionschottkypump, L41_0, 31.69, 74.525, 0.26, 0.26, 4, 2, 0.52, 0.52)
A(injectionschottkypump, L41_0, 60.95, 74.525, 0.26, 0.26, 4, 2, 0.52, 0.52)
A(injectionschottkypump, L41_0, 62.51, 74.525, 0.26, 0.26, 4, 2, 0.52, 0.52)
A(injectionschottkypump, L41_0, 64.07, 74.525, 0.26, 0.26, 4, 2, 0.52, 0.52)
A(injectionschottkypump, L41_0, 65.63, 74.525, 0.26, 0.26, 4, 2, 0.52, 0.52)
A(injectionschottkypump, L41_0, 67.19, 74.525, 0.26, 0.26, 4, 2, 0.52, 0.52)
A(injectionschottkypump, L41_0, 68.75, 74.525, 0.26, 0.26, 4, 2, 0.52, 0.52)
A(injectionschottkypump, L41_0, 70.31, 74.525, 0.26, 0.26, 4, 2, 0.52, 0.52)
A(injectionschottkypump, L41_0, 71.87, 74.525, 0.26, 0.26, 4, 2, 0.52, 0.52)
A(injectionschottkypump, L41_0, 73.43, 74.525, 0.26, 0.26, 4, 2, 0.52, 0.52)
A(injectionschottkypump, L41_0, 74.99, 74.525, 0.26, 0.26, 4, 2, 0.52, 0.52)
A(injectionschottkypump, L41_0, 76.55, 74.525, 0.26, 0.26, 4, 2, 0.52, 0.52)
A(injectionschottkypump, L41_0, 78.11, 74.525, 0.26, 0.26, 4, 2, 0.52, 0.52)
A(injectionschottkypump, L41_0, 79.67, 74.525, 0.26, 0.26, 4, 2, 0.52, 0.52)
A(injectionschottkypump, L41_0, 81.23, 74.525, 0.26, 0.26, 4, 2, 0.52, 0.52)
A(injectionschottkypump, L41_0, 82.79, 74.525, 0.26, 0.26, 4, 2, 0.52, 0.52)
A(injectionschottkypump, L41_0, 84.35, 74.525, 0.26, 0.26, 4, 2, 0.52, 0.52)
A(injectionschottkypump, L41_0, 42.19, 79.1, 0.26, 0.26, 1, 50, 0, 0.76)
A(injectionschottkypump, L41_0, 42.95, 79.1, 0.26, 0.26, 1, 50, 0, 0.76)
A(injectionschottkypump, L41_0, 52.59, 79.1, 0.26, 0.26, 1, 50, 0, 0.76)
A(injectionschottkypump, L41_0, 53.35, 79.1, 0.26, 0.26, 1, 50, 0, 0.76)
A(injectionschottkypump, L42_0, 7.945, 42.965, 2.47, 1.245, 16, 2, 1.56, 31.315)
A(injectionschottkypump, L42_0, 60.605, 74.28, 2.47, 1.245, 16, 1, 1.56, 0)
R(injectionschottkypump, L42_0, [(38.455,49.73,43.695,50.99), (31.665,58.73,36.905,59.99), (58.885,60.28,64.125,61.54)])
A(injectionschottkypump, L46_0, 7.945, 42.965, 2.47, 1.245, 16, 2, 1.56, 31.315)
A(injectionschottkypump, L46_0, 60.605, 74.28, 2.47, 1.245, 16, 1, 1.56, 0)
R(injectionschottkypump, L46_0, [(41.2,0,44.2,41.2), (38.455,49.73,43.695,50.99), (31.665,58.73,36.905,59.99), (58.885,60.28,64.125,61.54), (41.2,77.29,44.2,118.49), (51.6,77.29,54.6,118.49)])
A(injectionschottkypump, L81_0, 7.945, 42.965, 2.47, 1.245, 16, 2, 1.56, 31.315)
A(injectionschottkypump, L81_0, 60.605, 74.28, 2.47, 1.245, 16, 1, 1.56, 0)
R(injectionschottkypump, L81_0, [(41.7,1,43.7,40.2), (7.945,40.6,33.815,42.965), (38.455,49.73,43.695,50.99), (31.665,58.73,36.905,59.99), (36.905,58.73,43.7,59.99), (54.1,60.28,58.885,61.54), (58.885,60.28,64.125,61.54), (7.945,75.525,33.815,77.89), (60.605,75.525,86.475,77.89), (41.7,78.29,43.7,117.49), (52.1,78.29,54.1,117.49)])
injectionschottkypump.add(gdstk.FlexPath([(19.435,54.5),(0,54.5)], 1, ends="flush", simple_path=True, layer=34, datatype=0))  # L34_0
injectionschottkypump.add(gdstk.FlexPath([(19.335,63.2),(0,63.2)], 1, ends="flush", simple_path=True, layer=34, datatype=0))  # L34_0
injectionschottkypump.add(gdstk.FlexPath([(86.405,56.74),(58.885,56.74)], 1.16, ends="flush", simple_path=True, layer=34, datatype=0))  # L34_0
injectionschottkypump.add(gdstk.FlexPath([(42.7,78.29),(42.7,58.74)], 2, ends="flush", simple_path=True, layer=81, datatype=0))  # L81_0
injectionschottkypump.add(gdstk.FlexPath([(42.7,40.2),(42.7,49.74),(42.7,49.74),(42.7,49.74),(42.7,49.74)], 2, ends="flush", simple_path=True, layer=81, datatype=0))  # L81_0
injectionschottkypump.add(gdstk.FlexPath([(53.1,78.29),(53.1,60.28)], 2, ends="flush", simple_path=True, layer=81, datatype=0))  # L81_0
injectionschottkypump.add(gdstk.Reference(schottkydiode, (27.31,46.82)))
injectionschottkypump.add(gdstk.Reference(schottkydiode_1, (27.31,56.98)))
injectionschottkypump.add(gdstk.Reference(schottkydiode_1_1, (54.28,56.98)))
injectionschottkypump.add(gdstk.Reference(cap_mim, (55.2,77.89)))
injectionschottkypump.add(gdstk.Reference(cap_mim, (0.6,77.89)))
injectionschottkypump.add(gdstk.Reference(cap_mim, (0.6,0.6)))
injectionschottkypump.add(gdstk.Label('Stage1_out', (34.402,55.563), layer=34, texttype=10))
injectionschottkypump.add(gdstk.Label('PHI2_w', (0.508,54.5), layer=34, texttype=10))
injectionschottkypump.add(gdstk.Label('PHI1_w', (0.508,63.18), layer=34, texttype=10))
injectionschottkypump.add(gdstk.Label('GND_w', (1.52,49.545), layer=34, texttype=10))
injectionschottkypump.add(gdstk.Label('Vin_w', (0.588,67.947), layer=34, texttype=10))
injectionschottkypump.add(gdstk.Label('Vout_e', (95.153,56.735), layer=34, texttype=10))
injectionschottkypump.add(gdstk.Label('Vin_w', (0.588,67.947), layer=34, texttype=10))
injectionschottkypump.add(gdstk.Label('Vout_e', (95.153,56.735), layer=34, texttype=10))
injectionschottkypump.add(gdstk.Label('Stage1_out', (34.343,61.35), layer=36, texttype=10))
injectionschottkypump.add(gdstk.Label('Stage2_out', (47.816,54.505), layer=36, texttype=10))
injectionschottkypump.add(gdstk.Label('Stage1_out', (34.406,57.373), layer=36, texttype=10))

lib.write_gds('InjectionSchottkyPump.gds')
